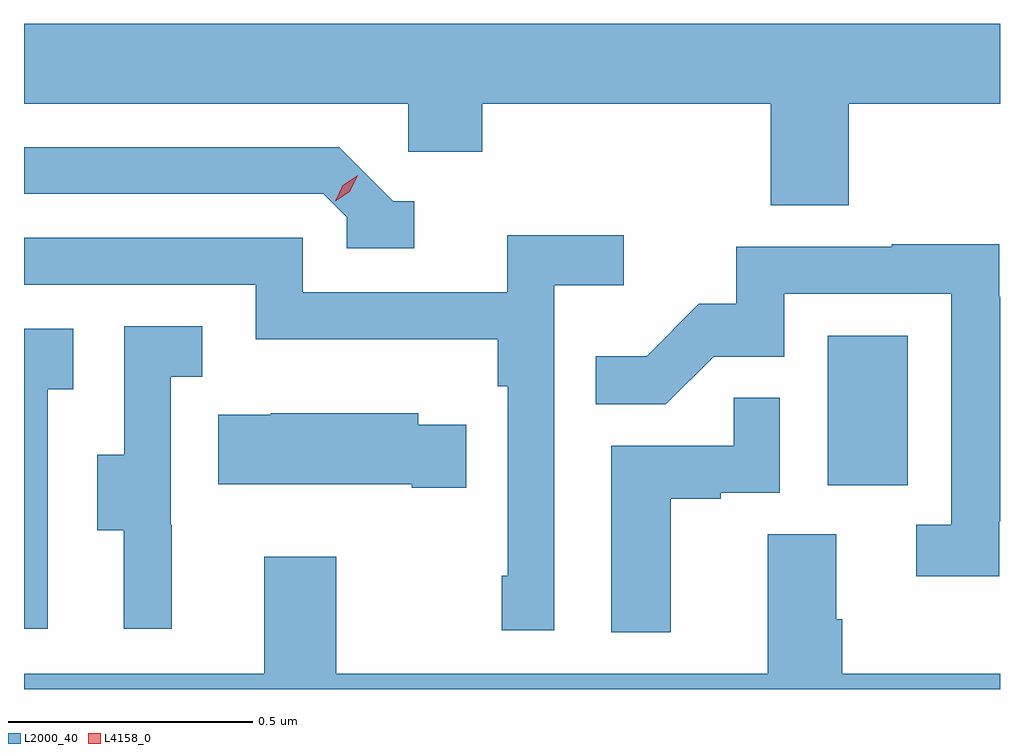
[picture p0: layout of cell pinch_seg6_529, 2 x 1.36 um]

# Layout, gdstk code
import gdstk
lib = gdstk.Library(unit=1e-6, precision=1e-09)
def R(c, l, rs):  # rectangles x0, y0, x1, y1
    for r in rs: c.add(gdstk.rectangle(r[:2], r[2:], *l))
def P(c, l, *ps):  # polygons
    for p in ps: c.add(gdstk.Polygon(p, *l))
L2000_40 = (2000, 40)
L4158_0 = (4158, 0)

pinch_seg6_529 = lib.new_cell('pinch_seg6_529')
R(pinch_seg6_529, L2000_40, [(847.79,915.918,847.954,916.225)])
P(pinch_seg6_529, L2000_40, [(847.833,916.7),(848.143,916.7),(848.143,916.864),(846.143,916.864),(846.143,916.7),(846.93,916.7),(846.93,916.602),(847.082,916.602),(847.082,916.7),(847.673,916.7),(847.673,916.492),(847.833,916.492)],
  [(846.943,916.5),(846.9,916.5),(846.789,916.611),(846.143,916.611),(846.143,916.515),(846.756,916.515),(846.804,916.467),(846.804,916.404),(846.943,916.404)],
  [(847.23,916.328),(847.372,916.328),(847.372,916.43),(847.133,916.43),(847.133,916.314),(846.714,916.314),(846.714,916.425),(846.143,916.425),(846.143,916.329),(846.618,916.329),(846.618,916.217),(847.114,916.217),(847.114,916.121),(847.134,916.121),(847.134,915.733),(847.122,915.733),(847.122,915.621),(847.23,915.621)],
  [(848.141,915.844),(848.143,915.844),(848.143,916.304),(848.141,916.304),(848.141,916.412),(847.921,916.412),(847.921,916.407),(847.603,916.407),(847.603,916.29),(847.526,916.29),(847.419,916.183),(847.315,916.183),(847.315,916.084),(847.458,916.084),(847.556,916.182),(847.701,916.182),(847.701,916.311),(848.043,916.311),(848.043,915.837),(847.971,915.837),(847.971,915.732),(848.141,915.732)],
  [(846.446,915.837),(846.444,915.837),(846.444,916.141),(846.508,916.141),(846.508,916.244),(846.348,916.244),(846.348,915.981),(846.293,915.981),(846.293,915.826),(846.347,915.826),(846.347,915.624),(846.446,915.624)],
  [(846.192,916.115),(846.244,916.115),(846.244,916.239),(846.143,916.239),(846.143,915.624),(846.192,915.624)],
  [(847.468,915.891),(847.571,915.891),(847.571,915.903),(847.692,915.903),(847.692,916.097),(847.597,916.097),(847.597,915.999),(847.346,915.999),(847.346,915.617),(847.468,915.617)],
  [(847.049,916.042),(846.951,916.042),(846.951,916.066),(846.649,916.066),(846.649,916.063),(846.541,916.063),(846.541,915.92),(846.938,915.92),(846.938,915.913),(847.049,915.913)],
  [(848.143,915.532),(847.82,915.532),(847.82,915.644),(847.807,915.644),(847.807,915.818),(847.667,915.818),(847.667,915.532),(846.783,915.532),(846.783,915.772),(846.635,915.772),(846.635,915.532),(846.143,915.532),(846.143,915.5),(848.143,915.5)])
P(pinch_seg6_529, L4158_0, [(846.781,916.5),(846.781,916.5),(846.796,916.533),(846.827,916.553),(846.827,916.553),(846.827,916.553),(846.811,916.52),(846.781,916.5)])

lib.write_gds('pinch_seg6_529.gds')
